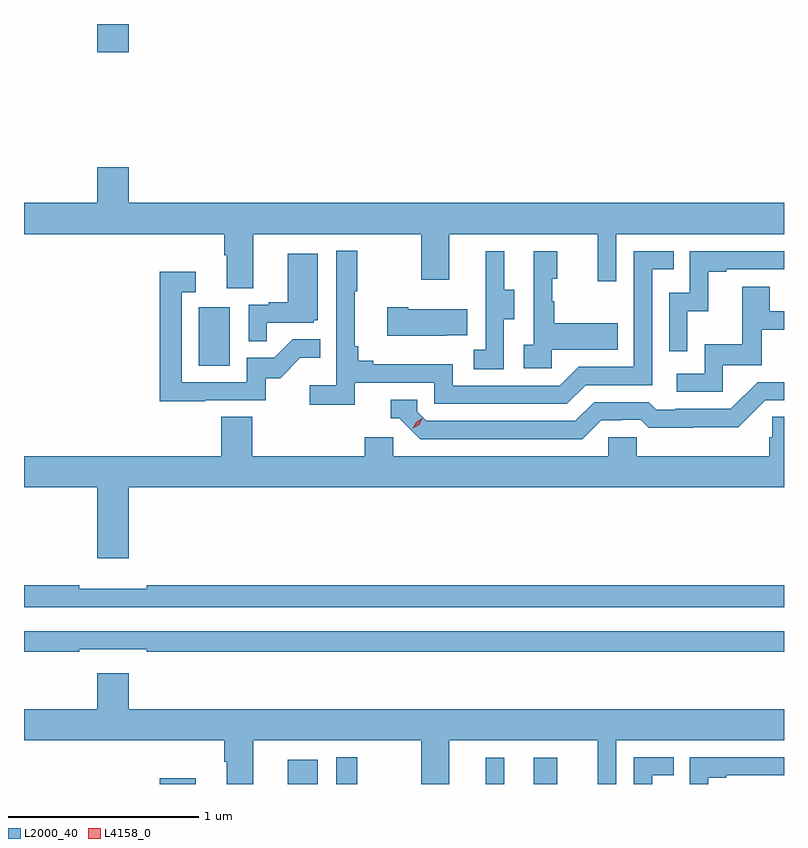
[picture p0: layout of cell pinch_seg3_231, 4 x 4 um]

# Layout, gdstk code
import gdstk
lib = gdstk.Library(unit=1e-6, precision=1e-09)
def R(c, l, rs):  # rectangles x0, y0, x1, y1
    for r in rs: c.add(gdstk.rectangle(r[:2], r[2:], *l))
def P(c, l, *ps):  # polygons
    for p in ps: c.add(gdstk.Polygon(p, *l))
L2000_40 = (2000, 40)
L4158_0 = (4158, 0)

pinch_seg3_231 = lib.new_cell('pinch_seg3_231')
R(pinch_seg3_231, L2000_40, [(920.581,739.314,920.77,739.345), (921.254,739.314,921.412,739.441), (921.51,739.314,921.619,739.456), (922.295,739.314,922.393,739.453), (922.548,739.314,922.672,739.453), (920.786,741.516,920.95,741.823), (920.252,743.166,920.416,743.314)])
P(pinch_seg3_231, L2000_40, [(921.073,742.208),(921.958,742.208),(921.958,741.969),(922.105,741.969),(922.105,742.208),(922.886,742.208),(922.886,741.96),(922.983,741.96),(922.983,742.208),(923.866,742.208),(923.866,742.372),(920.416,742.372),(920.416,742.561),(920.252,742.561),(920.252,742.372),(919.866,742.372),(919.866,742.208),(920.921,742.208),(920.921,742.096),(920.933,742.096),(920.933,741.922),(921.073,741.922)],
  [(921.608,741.426),(922.026,741.426),(922.026,741.315),(922.723,741.315),(922.822,741.414),(923.172,741.414),(923.172,742.023),(923.285,742.023),(923.285,742.119),(923.076,742.119),(923.076,741.51),(922.785,741.51),(922.686,741.411),(922.122,741.411),(922.122,741.523),(921.703,741.523),(921.703,741.542),(921.626,741.542),(921.626,741.619),(921.607,741.619),(921.607,741.907),(921.619,741.907),(921.619,742.12),(921.51,742.12),(921.51,741.412),(921.369,741.412),(921.369,741.31),(921.608,741.31)],
  [(923.358,741.803),(923.468,741.803),(923.468,742.011),(923.563,742.011),(923.563,742.023),(923.866,742.023),(923.866,742.119),(923.37,742.119),(923.37,741.9),(923.262,741.9),(923.262,741.591),(923.358,741.591)],
  [(922.392,741.76),(922.447,741.76),(922.447,741.915),(922.393,741.915),(922.393,742.117),(922.295,742.117),(922.295,741.903),(922.296,741.903),(922.296,741.599),(922.233,741.599),(922.233,741.496),(922.392,741.496)],
  [(922.644,741.599),(922.991,741.599),(922.991,741.739),(922.657,741.739),(922.657,741.854),(922.647,741.854),(922.647,741.972),(922.672,741.972),(922.672,742.117),(922.548,742.117),(922.548,741.626),(922.497,741.626),(922.497,741.501),(922.644,741.501)],
  [(921.143,741.741),(921.39,741.741),(921.39,741.756),(921.412,741.756),(921.412,742.105),(921.254,742.105),(921.254,741.85),(921.155,741.85),(921.155,741.837),(921.048,741.837),(921.048,741.643),(921.143,741.643)],
  [(920.819,741.333),(921.138,741.333),(921.138,741.45),(921.214,741.45),(921.321,741.557),(921.425,741.557),(921.425,741.656),(921.281,741.656),(921.183,741.558),(921.039,741.558),(921.039,741.429),(920.697,741.429),(920.697,741.903),(920.77,741.903),(920.77,742.009),(920.581,742.009),(920.581,741.328),(920.819,741.328)],
  [(923.544,741.519),(923.749,741.519),(923.749,741.705),(923.866,741.705),(923.866,741.801),(923.791,741.801),(923.791,741.931),(923.647,741.931),(923.647,741.628),(923.448,741.628),(923.448,741.474),(923.301,741.474),(923.301,741.378),(923.544,741.378)],
  [(922.091,741.677),(922.199,741.677),(922.199,741.814),(921.889,741.814),(921.889,741.822),(921.777,741.822),(921.777,741.674),(922.091,741.674)],
  [(922.903,741.228),(923.01,741.228),(923.01,741.231),(923.113,741.231),(923.155,741.189),(923.388,741.189),(923.388,741.191),(923.624,741.191),(923.766,741.333),(923.866,741.333),(923.866,741.429),(923.727,741.429),(923.586,741.288),(923.293,741.288),(923.293,741.285),(923.194,741.285),(923.155,741.324),(922.866,741.324),(922.767,741.225),(921.984,741.225),(921.936,741.273),(921.936,741.336),(921.797,741.336),(921.797,741.24),(921.84,741.24),(921.951,741.129),(922.804,741.129)],
  [(920.416,740.876),(923.866,740.876),(923.866,741.248),(923.803,741.248),(923.803,741.138),(923.789,741.138),(923.789,741.04),(923.091,741.04),(923.091,741.138),(922.941,741.138),(922.941,741.04),(921.81,741.04),(921.81,741.138),(921.659,741.138),(921.659,741.04),(921.068,741.04),(921.068,741.248),(920.903,741.248),(920.903,741.04),(919.866,741.04),(919.866,740.876),(920.252,740.876),(920.252,740.502),(920.416,740.502)],
  [(923.866,740.36),(920.512,740.36),(920.512,740.341),(920.156,740.341),(920.156,740.36),(919.866,740.36),(919.866,740.244),(923.866,740.244)],
  [(920.156,740.022),(920.512,740.022),(920.512,740.01),(923.866,740.01),(923.866,740.118),(919.866,740.118),(919.866,740.01),(920.156,740.01)],
  [(921.073,739.544),(921.958,739.544),(921.958,739.314),(922.105,739.314),(922.105,739.544),(922.886,739.544),(922.886,739.314),(922.983,739.314),(922.983,739.544),(923.866,739.544),(923.866,739.708),(920.416,739.708),(920.416,739.897),(920.252,739.897),(920.252,739.708),(919.866,739.708),(919.866,739.544),(920.921,739.544),(920.921,739.432),(920.933,739.432),(920.933,739.314),(921.073,739.314)],
  [(923.468,739.347),(923.563,739.347),(923.563,739.359),(923.866,739.359),(923.866,739.455),(923.37,739.455),(923.37,739.314),(923.468,739.314)],
  [(923.172,739.359),(923.285,739.359),(923.285,739.455),(923.076,739.455),(923.076,739.314),(923.172,739.314)])
P(pinch_seg3_231, L4158_0, [(921.913,741.186),(921.913,741.186),(921.93,741.219),(921.961,741.238),(921.962,741.238),(921.962,741.238),(921.945,741.205),(921.913,741.186)])

lib.write_gds('pinch_seg3_231.gds')
